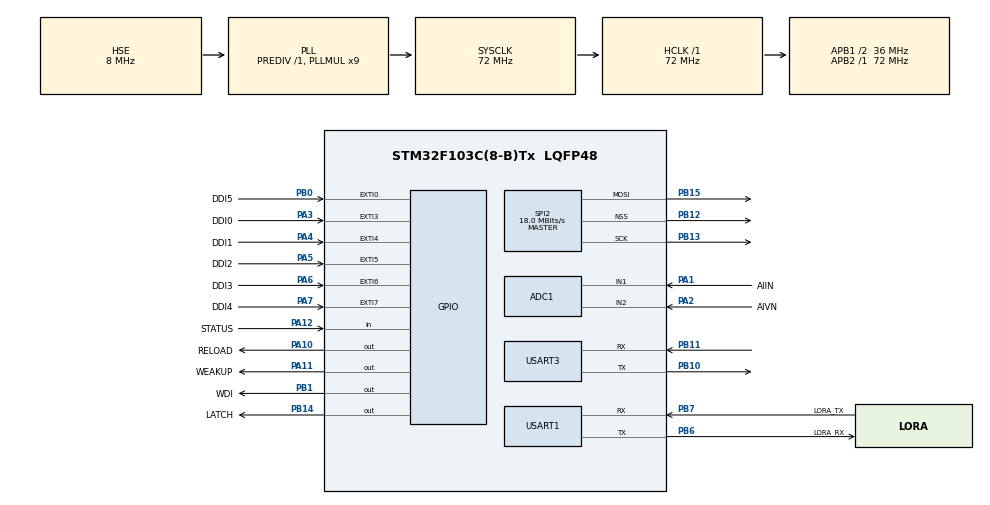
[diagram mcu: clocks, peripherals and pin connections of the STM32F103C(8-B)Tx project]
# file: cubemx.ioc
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ADC1.Channel-0\#ChannelRegularConversion=ADC_CHANNEL_1
ADC1.Channel-1\#ChannelRegularConversion=ADC_CHANNEL_2
ADC1.ContinuousConvMode=ENABLE
ADC1.EnableAnalogWatchDog=true
ADC1.NbrOfConversion=2
ADC1.NbrOfConversionFlag=1
ADC1.Rank-0\#ChannelRegularConversion=1
ADC1.Rank-1\#ChannelRegularConversion=2
ADC1.SamplingTime-0\#ChannelRegularConversion=ADC_SAMPLETIME_71CYCLES_5
ADC1.SamplingTime-1\#ChannelRegularConversion=ADC_SAMPLETIME_71CYCLES_5
ADC1.WatchdogChannel=ADC_CHANNEL_2
ADC1.master=1
Dma.ADC1.0.Direction=DMA_PERIPH_TO_MEMORY
Dma.ADC1.0.Instance=DMA1_Channel1
Dma.ADC1.0.MemDataAlignment=DMA_MDATAALIGN_WORD
Dma.ADC1.0.MemInc=DMA_MINC_ENABLE
Dma.ADC1.0.Mode=DMA_CIRCULAR
Dma.ADC1.0.PeriphDataAlignment=DMA_PDATAALIGN_WORD
Dma.ADC1.0.PeriphInc=DMA_PINC_DISABLE
Dma.ADC1.0.Priority=DMA_PRIORITY_HIGH
Dma.Request0=ADC1
Dma.Request1=USART1_RX
Dma.Request2=USART1_TX
Dma.Request3=USART3_TX
Dma.USART1_RX.1.Direction=DMA_PERIPH_TO_MEMORY
Dma.USART1_RX.1.Instance=DMA1_Channel5
Dma.USART1_RX.1.MemDataAlignment=DMA_MDATAALIGN_BYTE
Dma.USART1_RX.1.MemInc=DMA_MINC_ENABLE
Dma.USART1_RX.1.Mode=DMA_NORMAL
Dma.USART1_RX.1.PeriphDataAlignment=DMA_PDATAALIGN_BYTE
Dma.USART1_RX.1.PeriphInc=DMA_PINC_DISABLE
Dma.USART1_RX.1.Priority=DMA_PRIORITY_MEDIUM
Dma.USART1_TX.2.Direction=DMA_MEMORY_TO_PERIPH
Dma.USART1_TX.2.Instance=DMA1_Channel4
Dma.USART1_TX.2.MemDataAlignment=DMA_MDATAALIGN_BYTE
Dma.USART1_TX.2.MemInc=DMA_MINC_ENABLE
Dma.USART1_TX.2.Mode=DMA_NORMAL
Dma.USART1_TX.2.PeriphDataAlignment=DMA_PDATAALIGN_BYTE
Dma.USART1_TX.2.PeriphInc=DMA_PINC_DISABLE
Dma.USART1_TX.2.Priority=DMA_PRIORITY_MEDIUM
Dma.USART3_TX.3.Direction=DMA_MEMORY_TO_PERIPH
Dma.USART3_TX.3.Instance=DMA1_Channel2
Dma.USART3_TX.3.MemDataAlignment=DMA_MDATAALIGN_BYTE
Dma.USART3_TX.3.MemInc=DMA_MINC_ENABLE
Dma.USART3_TX.3.Mode=DMA_NORMAL
Dma.USART3_TX.3.PeriphDataAlignment=DMA_PDATAALIGN_BYTE
Dma.USART3_TX.3.PeriphInc=DMA_PINC_DISABLE
Dma.USART3_TX.3.Priority=DMA_PRIORITY_HIGH
FREERTOS.BinarySemaphores01=Modbus_Recive,Dynamic,NULL;Shell_Sem,Dynamic,NULL
FREERTOS.INCLUDE_vTaskDelete=0
FREERTOS.Mutexes01=shellMutex,Dynamic,NULL
FREERTOS.Queues01=DDIx_Queue,16,uint16_t,0,Dynamic,NULL,NULL
FREERTOS.Tasks01=shell,-2,256,Shell_Task,Default,&shell,Dynamic,NULL,NULL;mdbus,0,256,Mdbus_Task,Default,NULL,Dynamic,NULL,NULL;read_io,1,256,Read_Io_Task,Default,&DDIx,Dynamic,NULL,NULL;IWDG,3,64,IWDG_Task,Default,NULL,Dynamic,NULL,NULL
FREERTOS.Timers01=Timer1,Timer_Callback,osTimerPeriodic,Default,NULL,Dynamic,NULL
FREERTOS.configCHECK_FOR_STACK_OVERFLOW=2
FREERTOS.configMINIMAL_STACK_SIZE=64
FREERTOS.configTIMER_TASK_STACK_DEPTH=256
FREERTOS.configTOTAL_HEAP_SIZE=14336
FREERTOS.configUSE_TIMERS=1
IWDG.Prescaler=IWDG_PRESCALER_64
IWDG.Reload=1250
Mcu.Family=STM32F1
Mcu.Name=STM32F103C(8-B)Tx
Mcu.Package=LQFP48
NVIC.DMA1_Channel1_IRQn=true\:5\:0\:true\:false\:true\:true\:false\:true\:true
NVIC.DMA1_Channel2_IRQn=true\:5\:0\:false\:false\:true\:true\:false\:true\:true
NVIC.DMA1_Channel4_IRQn=true\:5\:0\:false\:false\:true\:true\:false\:true\:true
NVIC.DMA1_Channel5_IRQn=true\:5\:0\:false\:false\:true\:true\:false\:true\:true
NVIC.EXTI0_IRQn=true\:5\:0\:false\:false\:true\:true\:true\:true\:true
NVIC.EXTI3_IRQn=true\:5\:0\:false\:false\:true\:true\:true\:true\:true
NVIC.EXTI4_IRQn=true\:5\:0\:false\:false\:true\:true\:true\:true\:true
NVIC.EXTI9_5_IRQn=true\:5\:0\:true\:false\:true\:false\:true\:true\:true
NVIC.PriorityGroup=NVIC_PRIORITYGROUP_4
NVIC.TIM1_UP_IRQn=true\:5\:0\:true\:false\:true\:false\:false\:true\:true
NVIC.TimeBase=TIM1_UP_IRQn
NVIC.TimeBaseIP=TIM1
NVIC.USART1_IRQn=true\:5\:0\:true\:false\:true\:true\:true\:true\:true
NVIC.USART3_IRQn=true\:5\:0\:false\:false\:true\:true\:true\:true\:true
PA1.GPIO_Label=AIIN
PA1.Signal=ADCx_IN1
PA10.GPIO_Label=RELOAD
PA10.GPIO_PuPd=GPIO_PULLUP
PA10.GPIO_Speed=GPIO_SPEED_FREQ_LOW
PA10.PinState=GPIO_PIN_SET
PA10.Signal=GPIO_Output
PA11.GPIO_Label=WEAKUP
PA11.GPIO_PuPd=GPIO_PULLUP
PA11.PinState=GPIO_PIN_SET
PA11.Signal=GPIO_Output
PA12.GPIO_Label=STATUS
PA12.GPIO_PuPd=GPIO_PULLUP
PA12.Signal=GPIO_Input
PA13.Mode=Serial_Wire
PA13.Signal=SYS_JTMS-SWDIO
PA14.Mode=Serial_Wire
PA14.Signal=SYS_JTCK-SWCLK
PA2.GPIO_Label=AIVN
PA2.Signal=ADCx_IN2
PA3.GPIO_Label=DDI0
PA3.GPIO_ModeDefaultEXTI=GPIO_MODE_IT_FALLING
PA3.Signal=GPXTI3
PA4.GPIO_Label=DDI1
PA4.GPIO_ModeDefaultEXTI=GPIO_MODE_IT_FALLING
PA4.Signal=GPXTI4
PA5.GPIO_Label=DDI2
PA5.GPIO_ModeDefaultEXTI=GPIO_MODE_IT_FALLING
PA5.Signal=GPXTI5
PA6.GPIO_Label=DDI3
PA6.GPIO_ModeDefaultEXTI=GPIO_MODE_IT_FALLING
PA6.Signal=GPXTI6
PA7.GPIO_Label=DDI4
PA7.GPIO_ModeDefaultEXTI=GPIO_MODE_IT_FALLING
PA7.Signal=GPXTI7
PB0.GPIO_Label=DDI5
PB0.GPIO_ModeDefaultEXTI=GPIO_MODE_IT_FALLING
PB0.GPIO_PuPd=GPIO_PULLUP
PB0.Signal=GPXTI0
PB1.GPIO_Label=WDI
PB1.GPIO_PuPd=GPIO_NOPULL
PB1.PinState=GPIO_PIN_SET
PB1.Signal=GPIO_Output
PB10.Mode=Asynchronous
PB10.Signal=USART3_TX
PB11.Mode=Asynchronous
PB11.Signal=USART3_RX
PB12.Mode=NSS_Signal_Hard_Output
PB12.Signal=SPI2_NSS
PB13.Mode=TX_Only_Simplex_Unidirect_Master
PB13.Signal=SPI2_SCK
PB14.GPIO_Label=LATCH
PB14.GPIO_Speed=GPIO_SPEED_FREQ_HIGH
PB14.PinState=GPIO_PIN_SET
PB14.Signal=GPIO_Output
PB15.Mode=TX_Only_Simplex_Unidirect_Master
PB15.Signal=SPI2_MOSI
PB6.GPIO_Label=LORA_RX
PB6.Mode=Asynchronous
PB6.Signal=USART1_TX
PB7.GPIO_Label=LORA_TX
PB7.GPIO_PuPd=GPIO_PULLUP
PB7.Mode=Asynchronous
PB7.Signal=USART1_RX
PC14-OSC32_IN.Mode=LSE-External-Oscillator
PC14-OSC32_IN.Signal=RCC_OSC32_IN
PC15-OSC32_OUT.Mode=LSE-External-Oscillator
PC15-OSC32_OUT.Signal=RCC_OSC32_OUT
PD0-OSC_IN.Mode=HSE-External-Oscillator
PD0-OSC_IN.Signal=RCC_OSC_IN
PD1-OSC_OUT.Mode=HSE-External-Oscillator
PD1-OSC_OUT.Signal=RCC_OSC_OUT
ProjectManager.HeapSize=0x0
ProjectManager.StackSize=0x800
ProjectManager.TargetToolchain=MDK-ARM V5.27
RCC.ADCPresc=RCC_ADCPCLK2_DIV6
RCC.AHBFreq_Value=72000000
RCC.APB1CLKDivider=RCC_HCLK_DIV2
RCC.APB1Freq_Value=36000000
RCC.APB1TimFreq_Value=72000000
RCC.APB2Freq_Value=72000000
RCC.APB2TimFreq_Value=72000000
RCC.HCLKFreq_Value=72000000
RCC.PLLMUL=RCC_PLL_MUL9
RCC.PLLSourceVirtual=RCC_PLLSOURCE_HSE
RCC.SYSCLKFreq_VALUE=72000000
RCC.SYSCLKSource=RCC_SYSCLKSOURCE_PLLCLK
RCC.USBFreq_Value=72000000
RealThread.RT-Thread.3.1.5.RT_DEBUG_INIT=0
RealThread.RT-Thread.3.1.5.RT_MAIN_THREAD_STACK_SIZE=512
RealThread.RT-Thread.3.1.5.RT_USING_CONSOLE=1
RealThread.RT-Thread.3.1.5.RT_USING_HEAP=1
RealThread.RT-Thread.3.1.5.RT_USING_MUTEX=1
RealThread.RT-Thread.3.1.5.RT_USING_OVERFLOW_CHECK=1
RealThread.RT-Thread.3.1.5.RT_USING_TIMER_SOFT=1
SH.ADCx_IN1.0=ADC2_IN1
SH.ADCx_IN1.1=ADC1_IN1,IN1
SH.ADCx_IN2.0=ADC2_IN2
SH.ADCx_IN2.1=ADC1_IN2,IN2
SPI2.CalculateBaudRate=18.0 MBits/s
SPI2.Direction=SPI_DIRECTION_2LINES
SPI2.Mode=SPI_MODE_MASTER
SPI2.VirtualNSS=VM_NSSHARD
SPI2.VirtualType=VM_MASTER
USART1.VirtualMode=VM_ASYNC
USART3.VirtualMode=VM_ASYNC
VP_FREERTOS_VS_CMSIS_V1.Mode=CMSIS_V1
VP_IWDG_VS_IWDG.Mode=IWDG_Activate
VP_SYS_VS_tim1.Mode=TIM1
board=custom

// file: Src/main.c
/* USER CODE BEGIN Header */
/**
 ******************************************************************************
 * @file           : main.c
 * @brief          : Main program body
 ******************************************************************************
 * @attention
 *
 * <h2><center>&copy; Copyright (c) 2022 STMicroelectronics.
 * All rights reserved.</center></h2>
 *
 * This software component is licensed by ST under BSD 3-Clause license,
 * the "License"; You may not use this file except in compliance with the
 * License. You may obtain a copy of the License at:
 *                        opensource.org/licenses/BSD-3-Clause
 *
 ******************************************************************************
 */
/* USER CODE END Header */
#include "main.h"
#include "cmsis_os.h"
#include "adc.h"
#include "dma.h"
#include "iwdg.h"
#include "spi.h"
#include "usart.h"
#include "gpio.h"

/* USER CODE BEGIN Includes */
#include "shell_port.h"
#include "mdrtuslave.h"
#include "L101.h"
#include "io_uart.h"
#include "io_signal.h"
/* USER CODE END Includes */

/* USER CODE BEGIN PTD */
/* USER CODE BEGIN PTD */

/* USER CODE END PTD */

void SystemClock_Config(void);
void MX_FREERTOS_Init(void);

/* USER CODE BEGIN 0 */
#include "shell.h"

/**
 * @brief	System restart
 * @details
 * @param	None
 * @retval	None
 */
static void reboot(void)
{
  Shell *sh = shellGetCurrent();
  shellPrint(sh, "start reboot, wait...\r\n");

  __set_FAULTMASK(1);
  NVIC_SystemReset();
}
SHELL_EXPORT_CMD(SHELL_CMD_PERMISSION(0) | SHELL_CMD_TYPE(SHELL_TYPE_CMD_FUNC),
                 reboot, reboot, Restart the system.);
/* USER CODE END 0 */

int main(void)
{

  /* MCU Configuration--------------------------------------------------------*/

  /* Reset of all peripherals, Initializes the Flash interface and the Systick. */
  HAL_Init();

  /* Configure the system clock */
  SystemClock_Config();

  /* Initialize all configured peripherals */
  MX_GPIO_Init();
  MX_DMA_Init();
  MX_ADC1_Init();
  MX_SPI2_Init();
  MX_USART1_UART_Init();
  MX_IWDG_Init();
  MX_USART3_UART_Init();
  /* USER CODE BEGIN 2 */
#if defined(USING_IO_UART)
  // HAL_Delay(500);
  MX_Suart_Init();
#endif
  User_Shell_Init(Shell_Object);
  ModbusInit(&Master_Object);
  if (Master_Object)
  {
    /*Clear the flag before opening the relevant interrupt*/
    __HAL_UART_CLEAR_FLAG(&huart1, UART_IT_RXNE);
    __HAL_UART_CLEAR_FLAG(&huart1, UART_IT_IDLE);
    /*Idle interrupt*/
    __HAL_UART_ENABLE_IT(&huart1, UART_IT_IDLE);

    /*DMA buffer must point to an entity address!!!*/
    HAL_UART_Receive_DMA(&huart1, mdRTU_Recive_Buf(Master_Object), MODBUS_PDU_SIZE_MAX);
    Master_Object->receiveBuffer->count = 0;
  }

  // Slist_Init();
#if defined(USING_RTTHREAD)
  MX_RT_Thread_Init();
#endif
  /*Only ADC1 channel 0 uses DMA*/
  /*Start hardware watchdog*/
  HAL_ADC_Start_DMA(&hadc1, (uint32_t *)Adc_buffer, ADC_DMA_SIZE);
  /* USER CODE END 2 */

  /* Call init function for freertos objects (in freertos.c) */
  MX_FREERTOS_Init();

  /* Start scheduler */
  osKernelStart();

  /* We should never get here as control is now taken by the scheduler */
  /* Infinite loop */
  /* USER CODE BEGIN WHILE */
  while (1)
  {
    /*After the main thread runs, it is automatically deleted by the operating system*/
    /* USER CODE END WHILE */

  }
}

void SystemClock_Config(void)
{
  RCC_OscInitTypeDef RCC_OscInitStruct = {0};
  RCC_ClkInitTypeDef RCC_ClkInitStruct = {0};
  RCC_PeriphCLKInitTypeDef PeriphClkInit = {0};

  /** Initializes the RCC Oscillators according to the specified parameters
  * in the RCC_OscInitTypeDef structure.
  */
  RCC_OscInitStruct.OscillatorType = RCC_OSCILLATORTYPE_LSI|RCC_OSCILLATORTYPE_HSE;
  RCC_OscInitStruct.HSEState = RCC_HSE_ON;
  RCC_OscInitStruct.HSEPredivValue = RCC_HSE_PREDIV_DIV1;
  RCC_OscInitStruct.HSIState = RCC_HSI_ON;
  RCC_OscInitStruct.LSIState = RCC_LSI_ON;
  RCC_OscInitStruct.PLL.PLLState = RCC_PLL_ON;
  RCC_OscInitStruct.PLL.PLLSource = RCC_PLLSOURCE_HSE;
  RCC_OscInitStruct.PLL.PLLMUL = RCC_PLL_MUL9;
  if (HAL_RCC_OscConfig(&RCC_OscInitStruct) != HAL_OK)
  {
    Error_Handler();
  }

  /** Initializes the CPU, AHB and APB buses clocks
  */
  RCC_ClkInitStruct.ClockType = RCC_CLOCKTYPE_HCLK|RCC_CLOCKTYPE_SYSCLK
                              |RCC_CLOCKTYPE_PCLK1|RCC_CLOCKTYPE_PCLK2;
  RCC_ClkInitStruct.SYSCLKSource = RCC_SYSCLKSOURCE_PLLCLK;
  RCC_ClkInitStruct.AHBCLKDivider = RCC_SYSCLK_DIV1;
  RCC_ClkInitStruct.APB1CLKDivider = RCC_HCLK_DIV2;
  RCC_ClkInitStruct.APB2CLKDivider = RCC_HCLK_DIV1;

  if (HAL_RCC_ClockConfig(&RCC_ClkInitStruct, FLASH_LATENCY_2) != HAL_OK)
  {
    Error_Handler();
  }
  PeriphClkInit.PeriphClockSelection = RCC_PERIPHCLK_ADC;
  PeriphClkInit.AdcClockSelection = RCC_ADCPCLK2_DIV6;
  if (HAL_RCCEx_PeriphCLKConfig(&PeriphClkInit) != HAL_OK)
  {
    Error_Handler();
  }
}

/* USER CODE BEGIN 4 */
/**
 * @brief This function is called to increment  a global variable "uwTick"
 *        used as application time base.
 * @note In the default implementation, this variable is incremented each 1ms
 *       in SysTick ISR.
 * @note This function is declared as __weak to be overwritten in case of other
 *      implementations in user file.
 * @retval None
 */
void HAL_IncTick(void)
{
  uwTick += uwTickFreq;
  DDIx_TimerOut_Check(&DDIx);
}
/* USER CODE END 4 */

void HAL_TIM_PeriodElapsedCallback(TIM_HandleTypeDef *htim)
{
  /* USER CODE BEGIN Callback 0 */
#if defined(USING_IO_UART)
  IoUart_HandleTypeDef *huart = &S_Uart1;
  static uint8_t Samp_Bits = 0;
#endif
  // uint8_t *p = &huart->Tx.pBuf[0];
  /* USER CODE END Callback 0 */
  if (htim->Instance == TIM1) {
    HAL_IncTick();
  }
  /* USER CODE BEGIN Callback 1 */
#if defined(USING_IO_UART)
  else if (htim->Instance == TIM3)
  { /*Data transmission, transmission priority, no transmission before entering the receiving state*/
    if (huart->Tx.En)
    { /*Serial port sending bit status judgment*/
      switch (huart->Tx.Status)
      {
      case COM_START_BIT:
      {
        HAL_GPIO_WritePin(IO_UART_TX_GPIO_Port, IO_UART_TX_Pin, GPIO_PIN_RESET);
        huart->Tx.Status = COM_DATA_BIT;
        huart->Tx.Bits = 0U;
      }
      break;
      case COM_DATA_BIT:
      {
        HAL_GPIO_WritePin(IO_UART_TX_GPIO_Port, IO_UART_TX_Pin, (GPIO_PinState)((*(huart->Tx.pBuf) >> huart->Tx.Bits) & 0x01));

        if (++huart->Tx.Bits >= 8U)
        {
          huart->Tx.Status = huart->Check_Type ? COM_CHECK_BIT : COM_STOP_BIT;
        }
      }
      break;
      case COM_CHECK_BIT:
      {
      }
      break;
      case COM_STOP_BIT:
      {
        HAL_GPIO_WritePin(IO_UART_TX_GPIO_Port, IO_UART_TX_Pin, GPIO_PIN_SET);
        huart->Tx.Bits = 0U;
        if (--huart->Tx.Len)
        {
          huart->Tx.Status = COM_START_BIT;
          huart->Tx.pBuf++;
        }
        else
        {
          huart->Tx.Status = COM_NONE_BIT;
          huart->Tx.En = false;
          huart->Rx.En = true;
          HAL_TIM_Base_Stop_IT(huart->Tx.Timer_Handle);
          __HAL_TIM_SET_COUNTER(huart->Tx.Timer_Handle, 0U);
          /*清除外部中断线挂起寄存器*/
          __HAL_GPIO_EXTI_CLEAR_IT(IO_UART_RX_Pin);
          HAL_NVIC_EnableIRQ(huart->Rx.IRQn);
          huart->Tx.Finsh_Flag = true;
        }
      }
      break;
      default:
        break;
      }
    }
  }
  else if (htim->Instance == TIM4)
  {
    if (huart->Rx.En)
    {
      switch (huart->Rx.Status)
      {
      case COM_START_BIT:
      {
        Samp_Bits = (Samp_Bits << 1U) | (HAL_GPIO_ReadPin(IO_UART_RX_GPIO_Port, IO_UART_RX_Pin) & 0x01);

        if (++huart->Rx.Filters >= MAX_SAMPING)
        {
          if (!Get_ValidBits(Samp_Bits))
          {
            huart->Rx.Status = COM_DATA_BIT;
            __HAL_TIM_SET_AUTORELOAD(huart->Rx.Timer_Handle, huart->Rx.Sam_Times[huart->Rx.Filters]);
          }
          else
          {
            huart->Rx.Status = COM_STOP_BIT;
          }
          Samp_Bits = 0U;
          huart->Rx.Filters = 0U;
        }
        else
        {
          __HAL_TIM_SET_AUTORELOAD(huart->Rx.Timer_Handle, huart->Rx.Sam_Times[huart->Rx.Filters]);
        }
      }
      break;
      case COM_DATA_BIT: /*Data bit*/
      {
        Samp_Bits = (Samp_Bits << 1U) | (HAL_GPIO_ReadPin(IO_UART_RX_GPIO_Port, IO_UART_RX_Pin) & 0x01);

        if (++huart->Rx.Filters >= MAX_SAMPING)
        {
          huart->Rx.Data |= (Get_ValidBits(Samp_Bits) & 0x01) << huart->Rx.Bits;
          if (huart->Rx.Bits >= 7U)
          {
            huart->Rx.Bits = 0;
            huart->Rx.Status = huart->Check_Type ? COM_CHECK_BIT : COM_STOP_BIT;
          }
          else
          {
            huart->Rx.Bits++;
          }
          __HAL_TIM_SET_AUTORELOAD(huart->Rx.Timer_Handle, huart->Rx.Sam_Times[huart->Rx.Filters]);
          huart->Rx.Filters = 0U;
          Samp_Bits = 0U;
        }
        else
        {
          __HAL_TIM_SET_AUTORELOAD(huart->Rx.Timer_Handle, huart->Rx.Sam_Times[huart->Rx.Filters]);
        }
      }
      break;
      case COM_CHECK_BIT: /*Check bit*/
      {
        huart->Rx.Status = COM_NONE_BIT;
      }
      break;
      case COM_STOP_BIT: /*stop bit*/
      {
        Samp_Bits = (Samp_Bits << 1U) | (HAL_GPIO_ReadPin(IO_UART_RX_GPIO_Port, IO_UART_RX_Pin) & 0x01);

        if (++huart->Rx.Filters >= MAX_SAMPING)
        { /*Stop bit received correctly*/
          if (Get_ValidBits(Samp_Bits))
          {
            huart->Rx.Len++;
            huart->Rx.Status = COM_NONE_BIT;
            // huart->Rx.En = true;
            // huart->Tx.En = false; ///
            HAL_TIM_Base_Stop_IT(huart->Rx.Timer_Handle);
            __HAL_TIM_SET_COUNTER(huart->Rx.Timer_Handle, 0U);
            // HAL_NVIC_EnableIRQ(huart->Rx.IRQn);
            /*Two interrupts are generated when one data is received?*/
            // huart->Rx.Finsh_Flag ^= true;
            huart->Rx.Finsh_Flag = true;
          }
          huart->Rx.Filters = 0U;
          Samp_Bits = 0U;
        }
        else
        {
          __HAL_TIM_SET_AUTORELOAD(huart->Rx.Timer_Handle, huart->Rx.Sam_Times[huart->Rx.Filters]);
        }
      }
      break;
      default:
        break;
      }
    }
  }
#endif
  /* USER CODE END Callback 1 */
}

void Error_Handler(void)
{
  __disable_irq();
  while (1)
  {
  }
}

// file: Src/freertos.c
/* USER CODE BEGIN Header */
/**
 ******************************************************************************
 * File Name          : freertos.c
 * Description        : Code for freertos applications
 ******************************************************************************
 * @attention
 *
 * <h2><center>&copy; Copyright (c) 2022 STMicroelectronics.
 * All rights reserved.</center></h2>
 *
 * This software component is licensed by ST under Ultimate Liberty license
 * SLA0044, the "License"; You may not use this file except in compliance with
 * the License. You may obtain a copy of the License at:
 *                             www.st.com/SLA0044
 *
 ******************************************************************************
 */
/* USER CODE END Header */

#include "FreeRTOS.h"
#include "task.h"
#include "main.h"
#include "cmsis_os.h"

/* USER CODE BEGIN Includes */
#include "shell.h"
#include "shell_port.h"
#include "mdrtuslave.h"
#include "at_usr.h"
#include "io_signal.h"
#include "L101.h"
#include "io_uart.h"
#include "at.h"
#include "usart.h"
/* USER CODE END Includes */

/* USER CODE BEGIN PTD */
bool g_At = false;
SHELL_EXPORT_VAR(SHELL_CMD_PERMISSION(0) | SHELL_CMD_TYPE(SHELL_TYPE_VAR_INT), g_at, &g_At, at_cmd);
extern void Free_Mode(Shell *shell, char *pData);
extern bool Check_Mode(ModbusRTUSlaveHandler handler);
/* USER CODE END PTD */

osThreadId shellHandle;
osThreadId mdbusHandle;
osThreadId read_ioHandle;
osThreadId IWDGHandle;
osMessageQId DDIx_QueueHandle;
osTimerId Timer1Handle;
osMutexId shellMutexHandle;
osSemaphoreId Modbus_ReciveHandle;
osSemaphoreId Shell_SemHandle;

void Shell_Task(void const * argument);
void Mdbus_Task(void const * argument);
void Read_Io_Task(void const * argument);
void IWDG_Task(void const * argument);
void Timer_Callback(void const * argument);

void MX_FREERTOS_Init(void); /* (MISRA C 2004 rule 8.1) */

/* GetIdleTaskMemory prototype (linked to static allocation support) */
void vApplicationGetIdleTaskMemory( StaticTask_t **ppxIdleTaskTCBBuffer, StackType_t **ppxIdleTaskStackBuffer, uint32_t *pulIdleTaskStackSize );

/* GetTimerTaskMemory prototype (linked to static allocation support) */
void vApplicationGetTimerTaskMemory( StaticTask_t **ppxTimerTaskTCBBuffer, StackType_t **ppxTimerTaskStackBuffer, uint32_t *pulTimerTaskStackSize );

/* Hook prototypes */
void vApplicationStackOverflowHook(xTaskHandle xTask, signed char *pcTaskName);

/* USER CODE BEGIN 4 */
__weak void vApplicationStackOverflowHook(xTaskHandle xTask, signed char *pcTaskName)
{
  /* Run time stack overflow checking is performed if
  configCHECK_FOR_STACK_OVERFLOW is defined to 1 or 2. This hook function is
  called if a stack overflow is detected. */
  shellPrint(&shell, "%s is stack overflow!\r\n", pcTaskName);
}
/* USER CODE END 4 */

/* USER CODE BEGIN GET_IDLE_TASK_MEMORY */
static StaticTask_t xIdleTaskTCBBuffer;
static StackType_t xIdleStack[configMINIMAL_STACK_SIZE];

void vApplicationGetIdleTaskMemory(StaticTask_t **ppxIdleTaskTCBBuffer, StackType_t **ppxIdleTaskStackBuffer, uint32_t *pulIdleTaskStackSize)
{
  *ppxIdleTaskTCBBuffer = &xIdleTaskTCBBuffer;
  *ppxIdleTaskStackBuffer = &xIdleStack[0];
  *pulIdleTaskStackSize = configMINIMAL_STACK_SIZE;
  /* place for user code */
}
/* USER CODE END GET_IDLE_TASK_MEMORY */

/* USER CODE BEGIN GET_TIMER_TASK_MEMORY */
static StaticTask_t xTimerTaskTCBBuffer;
static StackType_t xTimerStack[configTIMER_TASK_STACK_DEPTH];

void vApplicationGetTimerTaskMemory(StaticTask_t **ppxTimerTaskTCBBuffer, StackType_t **ppxTimerTaskStackBuffer, uint32_t *pulTimerTaskStackSize)
{
  *ppxTimerTaskTCBBuffer = &xTimerTaskTCBBuffer;
  *ppxTimerTaskStackBuffer = &xTimerStack[0];
  *pulTimerTaskStackSize = configTIMER_TASK_STACK_DEPTH;
  /* place for user code */
}
/* USER CODE END GET_TIMER_TASK_MEMORY */

void MX_FREERTOS_Init(void) {
  /* Create the mutex(es) */
  /* definition and creation of shellMutex */
  osMutexDef(shellMutex);
  shellMutexHandle = osMutexCreate(osMutex(shellMutex));

  /* Create the semaphores(s) */
  /* definition and creation of Modbus_Recive */
  osSemaphoreDef(Modbus_Recive);
  Modbus_ReciveHandle = osSemaphoreCreate(osSemaphore(Modbus_Recive), 1);

  /* definition and creation of Shell_Sem */
  osSemaphoreDef(Shell_Sem);
  Shell_SemHandle = osSemaphoreCreate(osSemaphore(Shell_Sem), 1);

  /* Create the timer(s) */
  /* definition and creation of Timer1 */
  osTimerDef(Timer1, Timer_Callback);
  Timer1Handle = osTimerCreate(osTimer(Timer1), osTimerPeriodic, NULL);

  /* Create the queue(s) */
  /* definition and creation of DDIx_Queue */
  osMessageQDef(DDIx_Queue, 16, uint16_t);
  DDIx_QueueHandle = osMessageCreate(osMessageQ(DDIx_Queue), NULL);

  /* Create the thread(s) */
  /* definition and creation of shell */
  osThreadDef(shell, Shell_Task, osPriorityLow, 0, 256);
  shellHandle = osThreadCreate(osThread(shell), (void*) &shell);

  /* definition and creation of mdbus */
  osThreadDef(mdbus, Mdbus_Task, osPriorityNormal, 0, 256);
  mdbusHandle = osThreadCreate(osThread(mdbus), NULL);

  /* definition and creation of read_io */
  osThreadDef(read_io, Read_Io_Task, osPriorityAboveNormal, 0, 256);
  read_ioHandle = osThreadCreate(osThread(read_io), (void*) &DDIx);

  /* definition and creation of IWDG */
  osThreadDef(IWDG, IWDG_Task, osPriorityRealtime, 0, 64);
  IWDGHandle = osThreadCreate(osThread(IWDG), NULL);

  /* USER CODE BEGIN RTOS_THREADS */
  osTimerStart(Timer1Handle, MDTASK_SENDTIMES);
  /*Suspend shell task*/
#if defined(USING_L101)
  osThreadSuspend(shellHandle);
#endif
  /* add threads, ... */
  /* USER CODE END RTOS_THREADS */

}

void Shell_Task(void const * argument)
{
  /* USER CODE BEGIN Shell_Task */
#if defined(USING_IO_UART)
  HAL_NVIC_DisableIRQ(TIM3_IRQn);
  HAL_NVIC_DisableIRQ(TIM4_IRQn);
  HAL_NVIC_DisableIRQ(EXTI9_5_IRQn);

  HAL_NVIC_SetPriority(TIM3_IRQn, 6, 0);
  HAL_NVIC_SetPriority(TIM4_IRQn, 7, 0);
  HAL_NVIC_SetPriority(EXTI9_5_IRQn, 7, 0);

  HAL_NVIC_EnableIRQ(TIM3_IRQn);
  HAL_NVIC_EnableIRQ(TIM4_IRQn);
  HAL_NVIC_EnableIRQ(EXTI9_5_IRQn);
#endif
#if !defined(USING_ASHINING)
#if !defined(USING_TRANSPARENT_MODE)
  At_GetSlaveId();
#endif
#endif
  extern char shell_ch;
  HAL_UART_Receive_IT(&huart3, (uint8_t *)&shell_ch, 1);
  /* Infinite loop */
  for (;;)
  {
#if defined(USING_DEBUG)
    // shellPrint(&shell, "shell_Task is running !\r\n");
    // osDelay(1000);
#endif
    shellTask((void *)argument);
  }
  /* USER CODE END Shell_Task */
}

void Mdbus_Task(void const * argument)
{
  /* USER CODE BEGIN Mdbus_Task */
  /*The number of resources available after the creation of binary semaphore is 1,
  which needs to be released first*/
  osSemaphoreWait(Modbus_ReciveHandle, osWaitForever);
  /* Infinite loop */
  for (;;)
  {
    /*https://www.cnblogs.com/w-smile/p/11333950.html*/
    if (osOK == osSemaphoreWait(Modbus_ReciveHandle, osWaitForever))
    {
#if defined(USING_L101)
      Check_Mode(Master_Object) ? mdRTU_Handler(Master_Object) : Shell_Mode();
#else
      extern bool g_LoraMutex;
      if (!g_LoraMutex)
      {
        mdRTU_Handler(Master_Object);
#endif
#if defined(USING_DEBUG)
      shellWriteEndLine(&shell, "Received a data!\r\n", 19U);
#endif
    }
  }

#if defined(USING_DEBUG)
//     shellPrint(&shell, "Master_Object = 0x%p, ptick = 0x%p\r\n", Master_Object,
//                Master_Object->portRTUTimerTick);
//     osDelay(1000);
#endif

  // osDelay(10);
}
  /* USER CODE END Mdbus_Task */
}

void Read_Io_Task(void const * argument)
{
  /* USER CODE BEGIN Read_Io_Task */
  DDIx.pQueue = DDIx_QueueHandle;
  DDIx_HandleTypeDef *pDDIx = (DDIx_HandleTypeDef *)argument;
  // uint16_t data = 0;
  /* Infinite loop */
  for (;;)
  {
    // Io_Digital_Handle();
    // Io_Analog_Handle();
    // osDelay(50);

    // if (xQueueReceive(DDIx_QueueHandle, &data, osWaitForever) == pdPASS)
    // {
    //   /* xRxedStructure now contains a copy of xMessage. */
    //   Io_Digital_Handle(pDDIx->site, (uint8_t *)&data);
    //   pDDIx->site = 0;
    //   pDDIx->bits = 0;
    // }

    Io_Digital_Handle((uint8_t *)&pDDIx->bits);
    pDDIx->bits = 0;
    Io_Analog_Handle();
    osDelay(50);
  }
  /* USER CODE END Read_Io_Task */
}

void IWDG_Task(void const * argument)
{
  /* USER CODE BEGIN IWDG_Task */
  /* Infinite loop */
  for (;;)
  {
    extern IWDG_HandleTypeDef hiwdg;
    HAL_IWDG_Refresh(&hiwdg);
    HAL_GPIO_TogglePin(WDI_GPIO_Port, WDI_Pin);
    osDelay(1000);
  }
  /* USER CODE END IWDG_Task */
}

/* Timer_Callback function */
void Timer_Callback(void const * argument)
{
  /* USER CODE BEGIN Timer_Callback */
  // Master_Poll();
  /* USER CODE END Timer_Callback */
}
